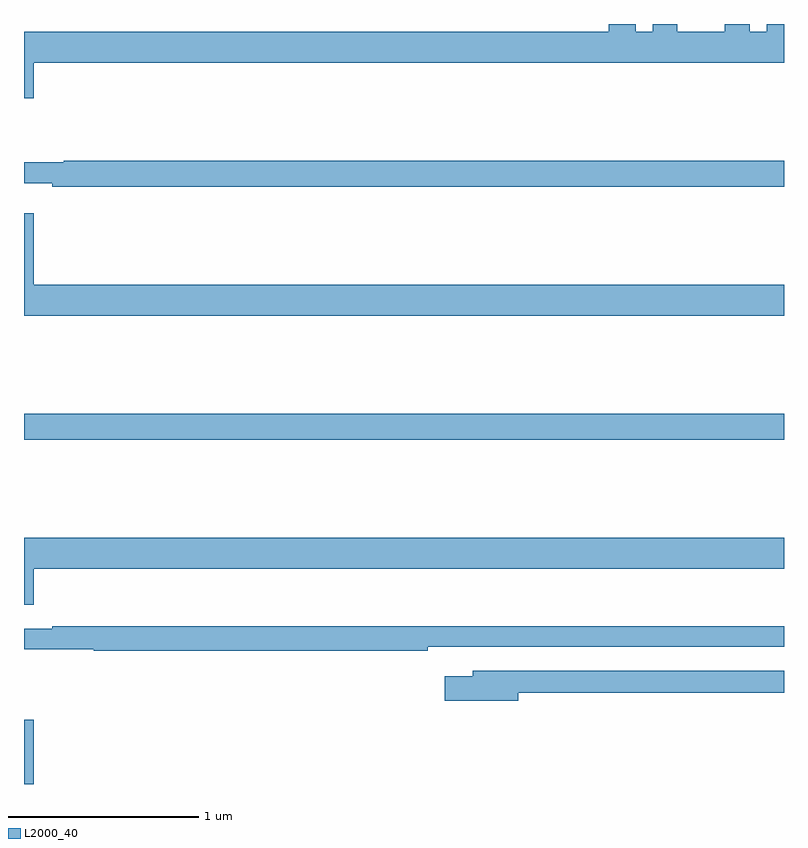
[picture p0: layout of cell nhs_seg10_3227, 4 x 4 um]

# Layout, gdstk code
import gdstk
lib = gdstk.Library(unit=1e-6, precision=1e-09)
def R(c, l, rs):  # rectangles x0, y0, x1, y1
    for r in rs: c.add(gdstk.rectangle(r[:2], r[2:], *l))
def P(c, l, *ps):  # polygons
    for p in ps: c.add(gdstk.Polygon(p, *l))
L2000_40 = (2000, 40)

nhs_seg10_3227 = lib.new_cell('nhs_seg10_3227')
R(nhs_seg10_3227, L2000_40, [(285,1316.5,285.052,1316.839), (285,1318.312,289,1318.448)])
P(nhs_seg10_3227, L2000_40, [(285.052,1320.296),(289,1320.296),(289,1320.5),(288.908,1320.5),(288.908,1320.46),(288.82,1320.46),(288.82,1320.5),(288.689,1320.5),(288.689,1320.46),(288.439,1320.46),(288.439,1320.5),(288.308,1320.5),(288.308,1320.46),(288.22,1320.46),(288.22,1320.5),(288.077,1320.5),(288.077,1320.46),(285,1320.46),(285,1320.108),(285.052,1320.108)],
  [(289,1319.78),(285.208,1319.78),(285.208,1319.773),(285,1319.773),(285,1319.663),(285.148,1319.663),(285.148,1319.644),(289,1319.644)],
  [(289,1319.128),(285.052,1319.128),(285.052,1319.503),(285,1319.503),(285,1318.964),(289,1318.964)],
  [(285,1317.444),(285.052,1317.444),(285.052,1317.632),(289,1317.632),(289,1317.796),(285,1317.796)],
  [(287.126,1317.222),(289,1317.222),(289,1317.331),(285.148,1317.331),(285.148,1317.318),(285,1317.318),(285,1317.21),(285.368,1317.21),(285.368,1317.202),(287.126,1317.202)],
  [(287.602,1316.98),(289,1316.98),(289,1317.096),(287.363,1317.096),(287.363,1317.067),(287.214,1317.067),(287.214,1316.938),(287.602,1316.938)])

lib.write_gds('nhs_seg10_3227.gds')
